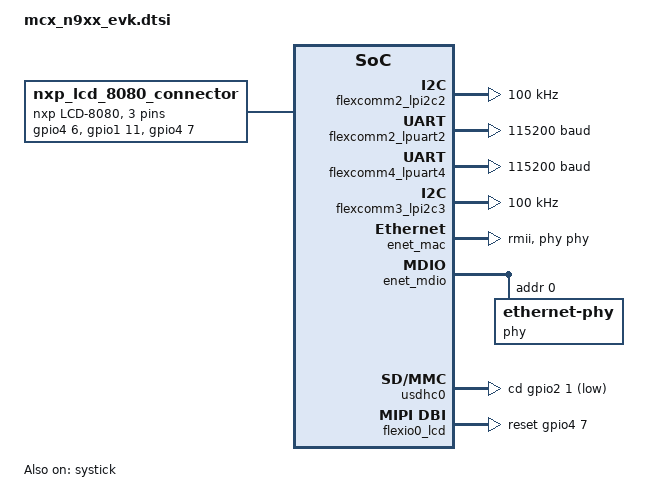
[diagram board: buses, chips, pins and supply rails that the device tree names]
/*
 * Copyright 2024-2025 NXP
 *
 * SPDX-License-Identifier: Apache-2.0
 */

#include "mcx_n9xx_evk-pinctrl.dtsi"
#include <zephyr/dt-bindings/i2c/i2c.h>
#include <zephyr/dt-bindings/input/input-event-codes.h>

/ {
	aliases {
		led0 = &red_led;
		led1 = &green_led;
		led2 = &blue_led;
		sw0 = &user_button_2;
		sw1 = &user_button_3;
		sdhc0 = &usdhc0;
		mcuboot-button0 = &user_button_2;
	};

	leds {
		compatible = "gpio-leds";

		green_led: led_1 {
			gpios = <&gpio3 2 GPIO_ACTIVE_HIGH>;
			label = "Green LED";
			status = "disabled";
		};

		blue_led: led_2 {
			gpios = <&gpio3 3 GPIO_ACTIVE_HIGH>;
			label = "Blue LED";
			status = "disabled";
		};

		red_led: led_3 {
			gpios = <&gpio3 4 GPIO_ACTIVE_HIGH>;
			label = "Red LED";
			status = "disabled";
		};
	};

	gpio_keys {
		compatible = "gpio-keys";

		user_button_2: button_0 {
			label = "User SW2";
			gpios = <&gpio1 3 (GPIO_ACTIVE_LOW | GPIO_PULL_UP)>;
			zephyr,code = <INPUT_KEY_0>;
			status = "disabled";
		};

		user_button_3: button_1 {
			label = "User SW3";
			gpios = <&gpio0 6 (GPIO_ACTIVE_LOW | GPIO_PULL_UP)>;
			zephyr,code = <INPUT_KEY_1>;
			status = "disabled";
		};
	};

	/*
	 * This node describes the GPIO pins of the LCD-PAR-S035 panel 8080 interface.
	 */
	nxp_lcd_8080_connector: lcd-8080-connector {
		compatible = "nxp,lcd-8080";
		#gpio-cells = <2>;
		gpio-map-mask = <0xffffffff 0xffffffc0>;
		gpio-map-pass-thru = <0 0x3f>;
		gpio-map = <9 0 &gpio4 6 0>,	/* Pin 9, LCD touch INT */
			   <10 0 &gpio1 11 0>,	/* Pin 10, LCD backlight control */
			   <11 0 &gpio4 7 0>;	/* Pin 11, LCD and touch reset */
	};
};

&flexcomm1_lpspi1 {
	pinctrl-0 = <&pinmux_flexcomm1_lpspi>;
	pinctrl-names = "default";
};

nxp_8080_touch_panel_i2c: &flexcomm2_lpi2c2 {
	pinctrl-0 = <&pinmux_flexcomm2_lpi2c>;
	pinctrl-names = "default";
	clock-frequency = <I2C_BITRATE_STANDARD>;
};

&flexcomm2_lpuart2 {
	current-speed = <115200>;
	pinctrl-0 = <&pinmux_flexcomm2_lpuart>;
	pinctrl-names = "default";
};

&flexcomm4_lpuart4 {
	current-speed = <115200>;
	pinctrl-0 = <&pinmux_flexcomm4_lpuart>;
	pinctrl-names = "default";
};

&flexcomm3_lpi2c3 {
	pinctrl-0 = <&pinmux_flexcomm3_lpi2c>;
	pinctrl-names = "default";
	clock-frequency = <I2C_BITRATE_STANDARD>;
};

/*
 * MCXN947 board uses OS timer as the kernel timer
 * In case we need to switch to SYSTICK timer, then
 * replace &os_timer with &systick
 */
&os_timer {
	status = "disabled";
};

&systick {
	status = "okay";
};

&sram {
	sramg: memory@20050000 {
		compatible = "mmio-sram";
		reg = <0x20050000 DT_SIZE_K(64)>;
	};

	sramh: memory@20060000 {
		compatible = "mmio-sram";
		reg = <0x20060000 DT_SIZE_K(32)>;
	};
};

&flash {
	partitions {
		compatible = "fixed-partitions";
		#address-cells = <1>;
		#size-cells = <1>;

		/*
		 * Partition sizes must be aligned
		 * to the flash memory sector size of 8KB.
		 */
		boot_partition: partition@0 {
			label = "mcuboot";
			reg = <0x00000000 DT_SIZE_K(80)>;
		};

		slot0_partition: partition@14000 {
			label = "image-0";
			reg = <0x00014000 DT_SIZE_K(984)>;
		};

		slot1_partition: partition@10A000 {
			label = "image-1";
			reg = <0x0010A000 DT_SIZE_K(984)>;
		};
		/* storage_partition is placed in WINBOND flash memory*/
	};
};

&flexspi {
	pinctrl-0 = <&pinmux_flexspi>;
	pinctrl-names = "default";
	ahb-prefetch;
	ahb-bufferable;
	ahb-cacheable;
	ahb-read-addr-opt;
	combination-mode;
	rx-clock-source = <1>;

	/* WINBOND flash memory*/
	w25q64jwtbjq: w25q64jwtbjq@0 {
		compatible = "nxp,imx-flexspi-nor";
		status = "disabled";
		size = <DT_SIZE_M(64)>;
		reg = <0>;
		spi-max-frequency = <DT_FREQ_M(133)>;
		jedec-id = [ef 40 17];
		erase-block-size = <DT_SIZE_K(4)>;
		write-block-size = <1>;
		cs-interval-unit = <1>;
		cs-interval = <2>;
		cs-hold-time = <3>;
		cs-setup-time = <3>;
		data-valid-time = <2>;
		column-space = <0>;
	};
};

&dac0 {
	pinctrl-0 = <&pinmux_dac0>;
	pinctrl-names = "default";
};

&sai1 {
	pinctrl-0 = <&pinmux_sai1>;
	pinctrl-names = "default";
};

&enet {
	pinctrl-0 = <&pinmux_enet_qos>;
	pinctrl-names = "default";
};

&enet_mac {
	phy-connection-type = "rmii";
	zephyr,random-mac-address;
	phy-handle = <&phy>;
};

&enet_mdio {
	phy: ethernet-phy@0 {
		compatible = "ethernet-phy";
		reg = <0>;
		status = "okay";
	};
};

&flexpwm1_pwm0 {
	pinctrl-0 = <&pinmux_flexpwm1_pwm0>;
	pinctrl-names = "default";
};

&usdhc0 {
	pinctrl-0 = <&pinmux_usdhc0>;
	pinctrl-1 = <&pinmux_usdhc0>;
	pinctrl-2 = <&pinmux_usdhc0>;
	cd-gpios = <&gpio2 1 GPIO_ACTIVE_LOW>;
	pwr-gpios = <&gpio0 11 GPIO_ACTIVE_HIGH>;
	pinctrl-names = "default", "slow", "med";
	no-1-8-v;
};

&lpadc0 {
	pinctrl-0 = <&pinmux_lpadc0>;
	pinctrl-names = "default";
};

zephyr_mipi_dbi_parallel: &flexio0_lcd {
	/* DMA channels 0, muxed to FlexIO TX */
	dmas = <&edma0 0 61>;
	dma-names = "tx";
	shifters-count = <8>;
	timers-count = <1>;
	enwr-pin = <1>;
	rd-pin = <0>;
	data-pin-start = <16>;
	reset-gpios = <&gpio4 7 GPIO_ACTIVE_HIGH>;
	cs-gpios = <&gpio0 12 GPIO_ACTIVE_HIGH>;
	rs-gpios = <&gpio0 7 GPIO_ACTIVE_HIGH>;
	pinctrl-0 = <&pinmux_flexio_lcd>;
	pinctrl-names = "default";
};

&lpcmp2 {
	pinctrl-0 = <&pinmux_lpcmp2>;
	pinctrl-names = "default";
};

&i3c1 {
	pinctrl-0 = <&pinmux_i3c1>;
	pinctrl-names = "default";
};

&flexcan0 {
	pinctrl-0 = <&pinmux_flexcan0>;
	pinctrl-names = "default";
};

&sc_timer {
	pinctrl-0 = <&pinmux_sctimer>;
	pinctrl-names = "default";
};
